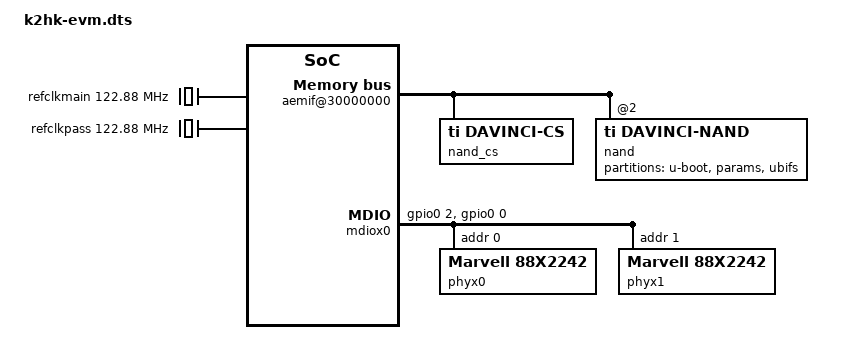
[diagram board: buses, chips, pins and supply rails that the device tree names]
/*
 * Keystone II Hawking EVM device tree file
 *
 * Copyright (c) 2012-13, Texas Instruments Inc
 * All rights reserved.
 *
 * Redistribution and use in source and binary forms, with or without
 * modification, are permitted provided that the following conditions are
 * met:
 *
 * * Redistributions of source code must retain the above copyright
 *	notice, this list of conditions and the following disclaimer.
 * * Redistributions in binary form must reproduce the above copyright
 *	notice, this list of conditions and the following disclaimer in
 *	the documentation and/or other materials provided with the
 *	distribution.
 * * Neither the name of TI nor the names of its contributors may be
 *	used to endorse or promote products derived from this software
 *	without specific prior written permission.
 *
 * THIS SOFTWARE IS PROVIDED BY THE COPYRIGHT HOLDERS AND CONTRIBUTORS "AS
 * IS" AND ANY EXPRESS OR IMPLIED WARRANTIES, INCLUDING, BUT NOT LIMITED
 * TO, THE IMPLIED WARRANTIES OF MERCHANTABILITY AND FITNESS FOR A
 * PARTICULAR PURPOSE ARE DISCLAIMED. IN NO EVENT SHALL THE COPYRIGHT
 * HOLDER OR CONTRIBUTORS BE LIABLE FOR ANY DIRECT, INDIRECT, INCIDENTAL,
 * SPECIAL, EXEMPLARY, OR CONSEQUENTIAL DAMAGES (INCLUDING, BUT NOT LIMITED
 * TO, PROCUREMENT OF SUBSTITUTE GOODS OR SERVICES; LOSS OF USE, DATA, OR
 * PROFITS; OR BUSINESS INTERRUPTION) HOWEVER CAUSED AND ON ANY THEORY OF
 * LIABILITY, WHETHER IN CONTRACT, STRICT LIABILITY, OR TORT (INCLUDING
 * NEGLIGENCE OR OTHERWISE) ARISING IN ANY WAY OUT OF THE USE OF THIS
 * SOFTWARE, EVEN IF ADVISED OF THE POSSIBILITY OF SUCH DAMAGE.
 */

/dts-v1/;

/include/ "keystone.dtsi"

/ {
	compatible = "ti,tci6638-evm";

	aliases {
		gpio0	= &gpio0;
		ethernet1 = &interface1;
		mdio-gpio0 = <&mdiox0>;
	};

	qostree: qos-tree {
		output-queue = <645>;		/* allowed only on root node */
	};

	qostree2: qos-tree-2 {
		output-queue = <645>;		/* allowed only on root node */
	};

	cpus {
		interrupt-parent = <&gic>;

		cpu@0 {
			compatible = "arm,cortex-a15";
		};

		cpu@1 {
			compatible = "arm,cortex-a15";
		};

		cpu@2 {
			compatible = "arm,cortex-a15";
		};

		cpu@3 {
			compatible = "arm,cortex-a15";
		};
	};

	soc {
		clocks {
			refclkmain: refclkmain {
				#clock-cells = <0>;
				compatible = "fixed-clock";
				clock-frequency = <122880000>;
				clock-output-names = "refclk-main";
			};

			refclkpass: refclkpass {
				#clock-cells = <0>;
				compatible = "fixed-clock";
				clock-frequency = <122880000>;
				clock-output-names = "refclk-pass";
			};

			mainpllclk: mainpllclk@2310110 {
				#clock-cells = <0>;
				compatible = "keystone,main-pll-clk";
				clocks = <&refclkmain>;
				reg = <0x02310110 4	/* PLLCTRL PLLM */
					0x02620350 4>;	/* MAINPLL_CTL0 */
				pll_has_pllctrl;
				pllm_lower_mask	= <0x3f>;
				pllm_upper_mask = <0x7f000>;
				pllm_upper_shift = <6>;
				plld_mask = <0x3f>;
				fixed_postdiv = <2>;
			};

			papllclk: papllclk@2620358 {
				#clock-cells = <0>;
				compatible = "keystone,pa-pll-clk";
				clocks = <&refclkpass>;
				reg = <0x02620358 4>;	/* PASSPLLCTL0 */
				pllm_upper_mask = <0x7ffc0>;
				pllm_upper_shift = <6>;
				plld_mask = <0x3f>;
				fixed_postdiv = <2>;
			};

			clkusb: clkusb {
				#clock-cells = <0>;
				compatible = "davinci,psc-clk";
				clocks = <&chipclk16>;
				clock-output-names = "usb";
				reg = <0x02350000 4096>;
				lpsc = <2>;
			};

			clksrio: clksrio {
				#clock-cells = <0>;
				compatible = "davinci,psc-clk";
				clocks = <&chipclk1rstiso13>;
				clock-output-names = "srio";
				base-flags = "ignore-unused";
				status = "disabled";
				reg = <0x02350000 4096>;
				lpsc = <11>;
				pd = <4>;
			};

			clkhyperlink0: clkhyperlink0 {
				#clock-cells = <0>;
				compatible = "davinci,psc-clk";
				clocks = <&chipclk12>;
				clock-output-names = "hyperlink-0";
				base-flags = "ignore-unused";
				status = "disabled";
				reg = <0x02350000 4096>;
				lpsc = <12>;
				pd = <5>;
			};

			clksr: clksr {
				#clock-cells = <0>;
				compatible = "davinci,psc-clk";
				clocks = <&chipclk1rstiso112>;
				clock-output-names = "sr";
				base-flags = "ignore-unused";
				reg = <0x02350000 4096>;
				lpsc = <13>;
				pd = <6>;
			};

			clkmsmcsram: clkmsmcsram {
				#clock-cells = <0>;
				compatible = "davinci,psc-clk";
				clocks = <&chipclk1>;
				clock-output-names = "msmcsram";
				base-flags = "ignore-unused";
				reg = <0x02350000 4096>;
				lpsc = <14>;
				pd = <7>;
			};

			clkgem0: clkgem0 {
				#clock-cells = <0>;
				compatible = "davinci,psc-clk";
				clocks = <&chipclk1>;
				clock-output-names = "gem0";
				base-flags = "ignore-unused";
				reg = <0x02350000 4096>;
				lpsc = <15>;
				pd = <8>;
			};

			clkgem1: clkgem1 {
				#clock-cells = <0>;
				compatible = "davinci,psc-clk";
				clocks = <&chipclk1>;
				clock-output-names = "gem1";
				base-flags = "ignore-unused";
				reg = <0x02350000 4096>;
				lpsc = <16>;
				pd = <9>;
			};

			clkgem2: clkgem2 {
				#clock-cells = <0>;
				compatible = "davinci,psc-clk";
				clocks = <&chipclk1>;
				clock-output-names = "gem2";
				base-flags = "ignore-unused";
				reg = <0x02350000 4096>;
				lpsc = <17>;
				pd = <10>;
			};

			clkgem3: clkgem3 {
				#clock-cells = <0>;
				compatible = "davinci,psc-clk";
				clocks = <&chipclk1>;
				clock-output-names = "gem3";
				base-flags = "ignore-unused";
				reg = <0x02350000 4096>;
				lpsc = <18>;
				pd = <11>;
			};

			clkgem4: clkgem4 {
				#clock-cells = <0>;
				compatible = "davinci,psc-clk";
				clocks = <&chipclk1>;
				clock-output-names = "gem4";
				base-flags = "ignore-unused";
				reg = <0x02350000 4096>;
				lpsc = <19>;
				pd = <12>;
			};

			clkgem5: clkgem5 {
				#clock-cells = <0>;
				compatible = "davinci,psc-clk";
				clocks = <&chipclk1>;
				clock-output-names = "gem5";
				base-flags = "ignore-unused";
				reg = <0x02350000 4096>;
				lpsc = <20>;
				pd = <13>;
			};

			clkgem6: clkgem6 {
				#clock-cells = <0>;
				compatible = "davinci,psc-clk";
				clocks = <&chipclk1>;
				clock-output-names = "gem6";
				base-flags = "ignore-unused";
				reg = <0x02350000 4096>;
				lpsc = <21>;
				pd = <14>;
			};

			clkgem7: clkgem7 {
				#clock-cells = <0>;
				compatible = "davinci,psc-clk";
				clocks = <&chipclk1>;
				clock-output-names = "gem7";
				base-flags = "ignore-unused";
				reg = <0x02350000 4096>;
				lpsc = <22>;
				pd = <15>;
			};

			clkddr30: clkddr30 {
				#clock-cells = <0>;
				compatible = "davinci,psc-clk";
				clocks = <&chipclk12>;
				clock-output-names = "ddr3-0";
				base-flags = "ignore-unused";
				reg = <0x02350000 4096>;
				lpsc = <23>;
				pd = <16>;
			};

			clkddr31: clkddr31 {
				#clock-cells = <0>;
				compatible = "davinci,psc-clk";
				clocks = <&chipclk13>;
				clock-output-names = "ddr3-1";
				base-flags = "ignore-unused";
				reg = <0x02350000 4096>;
				lpsc = <24>;
				pd = <16>;
			};

			clktac: clktac {
				#clock-cells = <0>;
				compatible = "davinci,psc-clk";
				clocks = <&chipclk13>;
				clock-output-names = "tac";
				base-flags = "ignore-unused";
				reg = <0x02350000 4096>;
				lpsc = <25>;
				pd = <17>;
			};

			clkrac01: clktac01 {
				#clock-cells = <0>;
				compatible = "davinci,psc-clk";
				clocks = <&chipclk13>;
				clock-output-names = "rac-01";
				base-flags = "ignore-unused";
				reg = <0x02350000 4096>;
				lpsc = <26>;
				pd = <17>;
			};

			clkrac23: clktac23 {
				#clock-cells = <0>;
				compatible = "davinci,psc-clk";
				clocks = <&chipclk13>;
				clock-output-names = "rac-23";
				base-flags = "ignore-unused";
				reg = <0x02350000 4096>;
				lpsc = <27>;
				pd = <18>;
			};

			clkfftc0: clkfftc0 {
				#clock-cells = <0>;
				compatible = "davinci,psc-clk";
				clocks = <&chipclk13>;
				clock-output-names = "fftc-0";
				base-flags = "ignore-unused";
				reg = <0x02350000 4096>;
				lpsc = <28>;
				pd = <19>;
			};

			clkfftc1: clkfftc1 {
				#clock-cells = <0>;
				compatible = "davinci,psc-clk";
				clocks = <&chipclk13>;
				clock-output-names = "fftc-1";
				base-flags = "ignore-unused";
				reg = <0x02350000 4096>;
				lpsc = <29>;
				pd = <19>;
			};

			clkfftc2: clkfftc2 {
				#clock-cells = <0>;
				compatible = "davinci,psc-clk";
				clocks = <&chipclk13>;
				clock-output-names = "fftc-2";
				base-flags = "ignore-unused";
				reg = <0x02350000 4096>;
				lpsc = <30>;
				pd = <20>;
			};

			clkfftc3: clkfftc3 {
				#clock-cells = <0>;
				compatible = "davinci,psc-clk";
				clocks = <&chipclk13>;
				clock-output-names = "fftc-3";
				base-flags = "ignore-unused";
				reg = <0x02350000 4096>;
				lpsc = <31>;
				pd = <20>;
			};

			clkfftc4: clkfftc4 {
				#clock-cells = <0>;
				compatible = "davinci,psc-clk";
				clocks = <&chipclk13>;
				clock-output-names = "fftc-4";
				base-flags = "ignore-unused";
				reg = <0x02350000 4096>;
				lpsc = <32>;
				pd = <20>;
			};

			clkfftc5: clkfftc5 {
				#clock-cells = <0>;
				compatible = "davinci,psc-clk";
				clocks = <&chipclk13>;
				clock-output-names = "fftc-5";
				base-flags = "ignore-unused";
				reg = <0x02350000 4096>;
				lpsc = <33>;
				pd = <20>;
			};

			clkaif: clkaif {
				#clock-cells = <0>;
				compatible = "davinci,psc-clk";
				clocks = <&chipclk13>;
				clock-output-names = "aif";
				base-flags = "ignore-unused";
				reg = <0x02350000 4096>;
				lpsc = <34>;
				pd = <21>;
			};

			clktcp3d0: clktcp3d0 {
				#clock-cells = <0>;
				compatible = "davinci,psc-clk";
				clocks = <&chipclk13>;
				clock-output-names = "tcp3d-0";
				base-flags = "ignore-unused";
				reg = <0x02350000 4096>;
				lpsc = <35>;
				pd = <22>;
			};

			clktcp3d1: clktcp3d1 {
				#clock-cells = <0>;
				compatible = "davinci,psc-clk";
				clocks = <&chipclk13>;
				clock-output-names = "tcp3d-1";
				base-flags = "ignore-unused";
				reg = <0x02350000 4096>;
				lpsc = <36>;
				pd = <22>;
			};

			clktcp3d2: clktcp3d2 {
				#clock-cells = <0>;
				compatible = "davinci,psc-clk";
				clocks = <&chipclk13>;
				clock-output-names = "tcp3d-2";
				base-flags = "ignore-unused";
				reg = <0x02350000 4096>;
				lpsc = <37>;
				pd = <23>;
			};

			clktcp3d3: clktcp3d3 {
				#clock-cells = <0>;
				compatible = "davinci,psc-clk";
				clocks = <&chipclk13>;
				clock-output-names = "tcp3d-3";
				base-flags = "ignore-unused";
				reg = <0x02350000 4096>;
				lpsc = <38>;
				pd = <23>;
			};

			clkvcp0: clkvcp0 {
				#clock-cells = <0>;
				compatible = "davinci,psc-clk";
				clocks = <&chipclk13>;
				clock-output-names = "vcp-0";
				base-flags = "ignore-unused";
				reg = <0x02350000 4096>;
				lpsc = <39>;
				pd = <24>;
			};

			clkvcp1: clkvcp1 {
				#clock-cells = <0>;
				compatible = "davinci,psc-clk";
				clocks = <&chipclk13>;
				clock-output-names = "vcp-1";
				base-flags = "ignore-unused";
				reg = <0x02350000 4096>;
				lpsc = <40>;
				pd = <24>;
			};

			clkvcp2: clkvcp2 {
				#clock-cells = <0>;
				compatible = "davinci,psc-clk";
				clocks = <&chipclk13>;
				clock-output-names = "vcp-2";
				base-flags = "ignore-unused";
				reg = <0x02350000 4096>;
				lpsc = <41>;
				pd = <24>;
			};

			clkvcp3: clkvcp3 {
				#clock-cells = <0>;
				compatible = "davinci,psc-clk";
				clocks = <&chipclk13>;
				clock-output-names = "vcp-3";
				base-flags = "ignore-unused";
				reg = <0x02350000 4096>;
				lpsc = <42>;
				pd = <24>;
			};

			clkvcp4: clkvcp4 {
				#clock-cells = <0>;
				compatible = "davinci,psc-clk";
				clocks = <&chipclk13>;
				clock-output-names = "vcp-4";
				base-flags = "ignore-unused";
				reg = <0x02350000 4096>;
				lpsc = <43>;
				pd = <25>;
			};

			clkvcp5: clkvcp5 {
				#clock-cells = <0>;
				compatible = "davinci,psc-clk";
				clocks = <&chipclk13>;
				clock-output-names = "vcp-5";
				base-flags = "ignore-unused";
				reg = <0x02350000 4096>;
				lpsc = <44>;
				pd = <25>;
			};

			clkvcp6: clkvcp6 {
				#clock-cells = <0>;
				compatible = "davinci,psc-clk";
				clocks = <&chipclk13>;
				clock-output-names = "vcp-6";
				base-flags = "ignore-unused";
				reg = <0x02350000 4096>;
				lpsc = <45>;
				pd = <25>;
			};

			clkvcp7: clkvcp7 {
				#clock-cells = <0>;
				compatible = "davinci,psc-clk";
				clocks = <&chipclk13>;
				clock-output-names = "vcp-7";
				base-flags = "ignore-unused";
				reg = <0x02350000 4096>;
				lpsc = <46>;
				pd = <25>;
			};

			clkbcp: clkbcp {
				#clock-cells = <0>;
				compatible = "davinci,psc-clk";
				clocks = <&chipclk13>;
				clock-output-names = "bcp";
				base-flags = "ignore-unused";
				reg = <0x02350000 4096>;
				lpsc = <47>;
				pd = <26>;
			};

			clkdxb: clkdxb {
				#clock-cells = <0>;
				compatible = "davinci,psc-clk";
				clocks = <&chipclk13>;
				clock-output-names = "dxb";
				base-flags = "ignore-unused";
				reg = <0x02350000 4096>;
				lpsc = <48>;
				pd = <27>;
			};

			clkhyperlink1: clkhyperlink1 {
				#clock-cells = <0>;
				compatible = "davinci,psc-clk";
				clocks = <&chipclk12>;
				clock-output-names = "hyperlink-1";
				base-flags = "ignore-unused";
				status = "disabled";
				reg = <0x02350000 4096>;
				lpsc = <49>;
				pd = <28>;
			};

			clkxge: clkxge {
				#clock-cells = <0>;
				compatible = "davinci,psc-clk";
				clocks = <&chipclk13>;
				clock-output-names = "xge";
				base-flags = "ignore-unused";
				reg = <0x02350000 4096>;
				lpsc = <50>;
				pd = <29>;
			};
		};


		aemif@30000000 {
			nand_cs:cs2@30000000 {
				compatible = "ti,davinci-cs";
				#address-cells = <1>;
				#size-cells = <1>;
				/* all timings in nanoseconds */
				ti,davinci-cs-ta = <12>;
				ti,davinci-cs-rhold = <6>;
				ti,davinci-cs-rstrobe = <23>;
				ti,davinci-cs-rsetup = <9>;
				ti,davinci-cs-whold = <8>;
				ti,davinci-cs-wstrobe = <23>;
				ti,davinci-cs-wsetup = <8>;
			};

			nand@2,0 {
				compatible = "ti,davinci-nand";
				reg = <2 0x0 0x8000000
					6 0x0 0x100>;
				#address-cells = <1>;
				#size-cells = <1>;
				ti,davinci-chipselect = <0>;
				ti,davinci-mask-ale = <0x2000>;
				ti,davinci-mask-cle = <0x4000>;
				ti,davinci-mask-chipsel = <0>;
				ti,davinci-ecc-mode = "hw";
				ti,davinci-ecc-bits = <4>;
				ti,davinci-nand-use-bbt;
				ti,davinci-no-subpage-write;
				clocks = <&clkaemif>;
				clock-names = "aemif";

				partition@0 {
					label = "u-boot";
					reg = <0x0 0x100000>;
					read-only;
				};

				partition@100000 {
					label = "params";
					reg = <0x100000 0x80000>;
					read-only;
				};

				partition@180000 {
					label = "ubifs";
					reg = <0x180000 0x1fe80000>;
				};
			};
		};

		ipcgpio1: gpio@2620244 {
			compatible = "ti,keystone-ipc-gpio";
			reg = <0x02620244 4>;
			gpio-controller;
			#gpio-cells = <2>;
		};

		ipcgpio2: gpio@2620248 {
			compatible = "ti,keystone-ipc-gpio";
			reg = <0x02620248 4>;
			gpio-controller;
			#gpio-cells = <2>;
		};

		ipcgpio3: gpio@262024c {
			compatible = "ti,keystone-ipc-gpio";
			reg = <0x0262024c 4>;
			gpio-controller;
			#gpio-cells = <2>;
		};

		ipcgpio4: gpio@2620250 {
			compatible = "ti,keystone-ipc-gpio";
			reg = <0x02620250 4>;
			gpio-controller;
			#gpio-cells = <2>;
		};

		ipcgpio5: gpio@2620254 {
			compatible = "ti,keystone-ipc-gpio";
			reg = <0x02620254 4>;
			gpio-controller;
			#gpio-cells = <2>;
		};

		ipcgpio6: gpio@2620258 {
			compatible = "ti,keystone-ipc-gpio";
			reg = <0x02620258 4>;
			gpio-controller;
			#gpio-cells = <2>;
		};

		ipcgpio7: gpio@262025C {
			compatible = "ti,keystone-ipc-gpio";
			reg = <0x0262025C 4>;
			gpio-controller;
			#gpio-cells = <2>;
		};

		dsp0: dsp0 {
			compatible = "linux,rproc-user";
			mem = <0x10e00000 0x00008000
			       0x10f00000 0x00008000
			       0x10800000 0x00100000>;
			reg = <0x02620040 4
			       0x0235083c 4
			       0x02350a3c 4
			       0x02620240 4>;
			reg-names = "boot-address", "psc-mdstat", "psc-mdctl", "ipcgr";
			interrupt-parent = <&ipcirq0>;
			interrupts = <8 0 0 0>;
			kick-gpio = <&ipcgpio0 27 0>;
			clocks = <&clkgem0>;
			label = "dsp0";
		};

		dsp1: dsp1 {
			compatible = "linux,rproc-user";
			mem = <0x11e00000 0x00008000
			       0x11f00000 0x00008000
			       0x11800000 0x00100000>;
			reg = <0x02620044 4
			       0x02350840 4
			       0x02350a40 4
			       0x02620244 4>;
			reg-names = "boot-address", "psc-mdstat", "psc-mdctl", "ipcgr";
			interrupt-parent = <&ipcirq0>;
			interrupts = <9 0 1 0>;
			kick-gpio = <&ipcgpio1 27 0>;
			clocks = <&clkgem1>;
			label = "dsp1";
		};

		dsp2: dsp2 {
			compatible = "linux,rproc-user";
			mem = <0x12e00000 0x00008000
			       0x12f00000 0x00008000
			       0x12800000 0x00100000>;
			reg = <0x02620048 4
			       0x02350844 4
			       0x02350a44 4
			       0x02620248 4>;
			reg-names = "boot-address", "psc-mdstat", "psc-mdctl", "ipcgr";
			interrupt-parent = <&ipcirq0>;
			interrupts = <10 0 2 0>;
			kick-gpio = <&ipcgpio2 27 0>;
			clocks = <&clkgem2>;
			label = "dsp2";
		};

		dsp3: dsp3 {
			compatible = "linux,rproc-user";
			mem = <0x13e00000 0x00008000
			       0x13f00000 0x00008000
			       0x13800000 0x00100000>;
			reg = <0x0262004c 4
			       0x02350848 4
			       0x02350a48 4
			       0x0262024c 4>;
			reg-names = "boot-address", "psc-mdstat", "psc-mdctl", "ipcgr";
			interrupt-parent = <&ipcirq0>;
			interrupts = <11 0 3 0>;
			kick-gpio = <&ipcgpio3 27 0>;
			clocks = <&clkgem3>;
			label = "dsp3";
		};

		dsp4: dsp4 {
			compatible = "linux,rproc-user";
			mem = <0x14e00000 0x00008000
			       0x14f00000 0x00008000
			       0x14800000 0x00100000>;
			reg = <0x02620050 4
			       0x0235084C 4
			       0x02350a4C 4
			       0x02620250 4>;
			reg-names = "boot-address", "psc-mdstat", "psc-mdctl", "ipcgr";
			interrupt-parent = <&ipcirq0>;
			interrupts = <12 0 4 0>;
			kick-gpio = <&ipcgpio4 27 0>;
			clocks = <&clkgem4>;
			label = "dsp4";
		};

		dsp5: dsp5 {
			compatible = "linux,rproc-user";
			mem = <0x15e00000 0x00008000
			       0x15f00000 0x00008000
			       0x15800000 0x00100000>;
			reg = <0x02620054 4
			       0x02350850 4
			       0x02350a50 4
			       0x02620254 4>;
			reg-names = "boot-address", "psc-mdstat", "psc-mdctl", "ipcgr";
			interrupt-parent = <&ipcirq0>;
			interrupts = <13 0 5 0>;
			kick-gpio = <&ipcgpio5 27 0>;
			clocks = <&clkgem5>;
			label = "dsp5";
		};

		dsp6: dsp6 {
			compatible = "linux,rproc-user";
			mem = <0x16e00000 0x00008000
			       0x16f00000 0x00008000
			       0x16800000 0x00100000>;
			reg = <0x02620058 4
			       0x02350854 4
			       0x02350a54 4
			       0x02620258 4>;
			reg-names = "boot-address", "psc-mdstat", "psc-mdctl", "ipcgr";
			interrupt-parent = <&ipcirq0>;
			interrupts = <14 0 6 0>;
			kick-gpio = <&ipcgpio6 27 0>;
			clocks = <&clkgem6>;
			label = "dsp6";
		};

		dsp7: dsp7 {
			compatible = "linux,rproc-user";
			mem = <0x17e00000 0x00008000
			       0x17f00000 0x00008000
			       0x17800000 0x00100000>;
			reg = <0x0262005C 4
			       0x02350858 4
			       0x02350a58 4
			       0x0262025C 4>;
			reg-names = "boot-address", "psc-mdstat", "psc-mdctl", "ipcgr";
			interrupt-parent = <&ipcirq0>;
			interrupts = <15 0 7 0>;
			kick-gpio = <&ipcgpio7 27 0>;
			clocks = <&clkgem7>;
			label = "dsp7";
		};

		dspmem: dspmem {
			compatible = "linux,rproc-user";
			mem  = <0x0c000000 0x000600000
					0xa0000000 0x20000000>;
			label = "dspmem";
		};


		uio_hyperlink0: hyperlink0 {
			compatible = "ti,uio-module-drv";
			mem  = <0x21400000 0x00000100
				0x40000000 0x10000000
				0x0231a000 0x00002000>;
			clocks = <&clkhyperlink0>;
			interrupts	= <0 387 0x101>;
			label = "hyperlink0";
		};

		uio_hyperlink1: hyperlink1 {
			compatible = "ti,uio-module-drv";
			mem  = <0x21400100 0x00000100
				0x28000000 0x08000000
				0x0231c000 0x00002000>;
			clocks = <&clkhyperlink1>;
			interrupts	= <0 388 0x101>;
			label = "hyperlink1";
		};

		hwqueue0: hwqueue@2a40000 {
			range		= <0 0x4000>;
			linkram0	= <0x100000 0x8000>;
			linkram1	= <0x0 0x10000>;

			qmgrs {
				qmgr1 {
					managed-queues = <0x2000 0x2000>;	/* managed queues */
					reg = <0x2a60000 0x20000	/* 0 - peek	*/
					       0x2a06400 0x400		/* 1 - status	*/
					       0x2a04000 0x1000		/* 2 - config	*/
					       0x2a05000 0x1000		/* 3 - region	*/
					       0x2aa0000 0x20000	/* 4 - push	*/
					       0x2aa0000 0x20000>;	/* 5 - pop	*/
				};
			};
			queues {
				qpend-arm-hi {
					values = <8704 32>;
					interrupts = <0 48 0x104 0 49 0x204 0 50 0xf04 0 51 0xf04
						      0 52 0xf04 0 53 0xf04 0 54 0xf04 0 55 0xf04
						      0 56 0xf04 0 57 0xf04 0 58 0xf04 0 59 0xf04
						      0 60 0x104 0 61 0x204 0 62 0x404 0 63 0x804
						      0 64 0x404 0 65 0x804 0 66 0xf04 0 59 0xf04
						      0 68 0xf04 0 69 0xf04 0 70 0xf04 0 71 0xf04
						      0 72 0xf04 0 73 0xf04 0 74 0xf04 0 75 0xf04
						      0 76 0xf04 0 77 0xf04 0 78 0xf04 0 79 0xf04>;
					reserved;
				};
				pa {
					values = <640 9>;
					reserved;
				};
				infradma {
					values = <800 16>;
					reserved;
				};
				xge {
					values = <8752 8>;
					reserved;
				};
			};
			descriptors {
				pool-udma {
					values = <1920 256>;	/* num_desc desc_size */
					region-id = <13>;
				};
			};
		}; /* hwqueue0 */

		padma: pktdma@2004000 {
			compatible = "ti,keystone-pktdma";
			reg = <0x2004000 0x100		/* 0 - global  */
			       0x2004400 0x120		/* 1 - txchan  */
			       0x2004800 0x300		/* 2 - rxchan  */
			       0x2004c00 0x120		/* 3 - txsched */
			       0x2005000 0x400>;	/* 4 - rxflow  */
			/* loop-back;  */
			/* bigendian; */
			dma-coherent;
			enable-all;
			debug;
			/* rx-priority = <0>; */
			/* tx-priority = <0>; */
			rx-retry-timeout = <3500>; /* Number of pktdma cycles to wait
						before retry on buffer starvation */
			logical-queue-managers	= <4>;
			queues-per-queue-manager = <4096>;
			qm-base-address = <0x23a80000 0x23a90000
					   0x23aa0000 0x23ab0000>;

			channels {
				nettx0 {
					transmit;
					label		= "nettx0";
					pool		= "pool-net";
					submit-queue	= <648>;
					/* complete-queue = <xx>; */
					/* debug; */
					/* channel = <0>; */
					/* priority = <1>; */
				};
				nettx1 {
					transmit;
					label		= "nettx1";
					pool		= "pool-net";
					submit-queue	= <648>;
					/* complete-queue = <xx>; */
					/* debug; */
					/* channel = <0>; */
					/* priority = <1>; */
				};
				nettx2 {
					transmit;
					label		= "nettx2";
					pool		= "pool-net";
					submit-queue	= <648>;
					/* complete-queue = <xx>; */
					/* debug; */
					/* channel = <0>; */
					/* priority = <1>; */
				};
				nettx3 {
					transmit;
					label		= "nettx3";
					pool		= "pool-net";
					submit-queue	= <648>;
					/* complete-queue = <xx>; */
					/* debug; */
					/* channel = <0>; */
					/* priority = <1>; */
				};
				netrx0 {
					receive;
					label		= "netrx0";
					pool		= "pool-net";
					/* submit-queue   = <xx>; */
					complete-queue = <8704>;
					/* debug; */
					/* channel = <0>; */
					flow		= <22>;
				};
				netrx1 {
					receive;
					label		= "netrx1";
					pool		= "pool-net";
					/* submit-queue   = <xx>; */
					complete-queue = <8705>;
					/* debug; */
					/* channel = <0>; */
					flow		= <23>;
				};
				netrx2 {
					receive;
					label		= "netrx2";
					pool		= "pool-net";
					/* submit-queue   = <xx>; */
					complete-queue = <8718>;
					/* debug; */
					/* channel = <0>; */
					flow		= <24>;
				};
				netrx3 {
					receive;
					label		= "netrx3";
					pool		= "pool-net";
					/* submit-queue   = <xx>; */
					complete-queue = <8719>;
					/* debug; */
					/* channel = <0>; */
					flow		= <25>;
				};
				satx-0 {
					transmit;
					label		= "satx-0";
					pool		= "pool-net";
					submit-queue	= <646>;
				};
				satx-1 {
					transmit;
					label		= "satx-1";
					pool		= "pool-net";
					submit-queue	= <646>;
				};
				patx-pdsp0 {
					transmit;
					label		= "patx-pdsp0";
					pool		= "pool-net";
					submit-queue	= <640>;
					complete-queue  = <8706>;
					/* debug; */
					/* channel = <xx>; */
					/* priority = <1>; */
				};
				patx-pdsp5-0 {
					transmit;
					label		= "patx-pdsp5-0";
					pool		= "pool-net";
					submit-queue	= <645>;
					/* complete-queue = <xx>; */
					/* debug; */
					/* channel = <xx>; */
					/* priority = <1>; */
				};
				patx-pdsp5-1 {
					transmit;
					label		= "patx-pdsp5-1";
					pool		= "pool-net";
					submit-queue	= <645>;
					/* complete-queue = <xx>; */
					/* debug; */
					/* channel = <xx>; */
					/* priority = <1>; */
				};
				patx-pdsp5-2 {
					transmit;
					label		= "patx-pdsp5-2";
					pool		= "pool-net";
					submit-queue	= <645>;
					complete-queue = <8720>;
					/* debug; */
					/* channel = <xx>; */
					/* priority = <1>; */
				};
				patx-pdsp5-3 {
					transmit;
					label		= "patx-pdsp5-3";
					pool		= "pool-net";
					submit-queue	= <645>;
					complete-queue = <8721>;
					/* debug; */
					/* channel = <xx>; */
					/* priority = <1>; */
				};
				qos-bypass-0 {
					transmit;
					label		= "qos-bypass-0";
					pool		= "pool-net";
					submit-queue	= <645>;
					complete-queue 	= <8716>;
					/* debug; */
					/* channel = <xx>; */
					/* priority = <1>; */
				};
				qos-bypass-1 {
					transmit;
					label		= "qos-bypass-1";
					pool		= "pool-net";
					submit-queue	= <645>;
					complete-queue 	= <8717>;
					/* debug; */
					/* channel = <xx>; */
					/* priority = <1>; */
				};
				parx {
					receive;
					label		= "parx";
					pool		= "pool-net";
					/* submit-queue   = <xx>; */
					/* complete-queue = <xx>; */
					/* debug; */
					/* channel = <0>; */
					flow		= <31>;
				};
				crypto-rx0 {
					receive;
					label		= "crypto-rx0";
					pool		= "pool-crypto";
					complete-queue 	= <8712>;
					flow		= <26>;
					rx-error-retry; /* enable retry on buffer starvation */
					/* debug; */
				};
				crypto-tx {
					transmit;
					label		= "crypto-tx";
					pool		= "pool-crypto";
					submit-queue	= <646>;
					complete-queue 	= <8713>;
					/* debug; */
				};
				qos0 {
					transmit;
					label		= "qos0";
					pool		= "pool-net";
					submit-queue	= <8072>;
					/* complete-queue = <xx>; */
					/* debug; */
					/* channel = <xx>; */
					/* priority = <1>; */
				};
				qos1 {
					transmit;
					label		= "qos1";
					pool		= "pool-net";
					submit-queue	= <8073>;
					/* complete-queue = <xx>; */
					/* debug; */
					/* channel = <xx>; */
					/* priority = <1>; */
				};
				qos2 {
					transmit;
					label		= "qos2";
					pool		= "pool-net";
					submit-queue	= <8074>;
					/* complete-queue = <xx>; */
					/* debug; */
					/* channel = <xx>; */
					/* priority = <1>; */
				};
				qos3 {
					transmit;
					label		= "qos3";
					pool		= "pool-net";
					submit-queue	= <8075>;
					/* complete-queue = <xx>; */
					/* debug; */
					/* channel = <xx>; */
					/* priority = <1>; */
				};
				qos4 {
					transmit;
					label		= "qos4";
					pool		= "pool-net";
					submit-queue	= <8076>;
					/* complete-queue = <xx>; */
					/* debug; */
					/* channel = <xx>; */
					/* priority = <1>; */
				};
				qos5 {
					transmit;
					label		= "qos5";
					pool		= "pool-net";
					submit-queue	= <8077>;
					complete-queue  = <8707>;
					/* debug; */
					/* channel = <xx>; */
					/* priority = <1>; */
				};
				qos6 {
					transmit;
					label		= "qos6";
					pool		= "pool-net";
					submit-queue	= <6472>;
					/* complete-queue = <xx>; */
					/* debug; */
					/* channel = <xx>; */
					/* priority = <1>; */
				};
				qos7 {
					transmit;
					label		= "qos7";
					pool		= "pool-net";
					submit-queue	= <6473>;
					/* complete-queue = <xx>; */
					/* debug; */
					/* channel = <xx>; */
					/* priority = <1>; */
				};
				qos8 {
					transmit;
					label		= "qos8";
					pool		= "pool-net";
					submit-queue	= <6474>;
					/* complete-queue = <xx>; */
					/* debug; */
					/* channel = <xx>; */
					/* priority = <1>; */
				};
				qos9 {
					transmit;
					label		= "qos9";
					pool		= "pool-net";
					submit-queue	= <6475>;
					/* complete-queue = <xx>; */
					/* debug; */
					/* channel = <xx>; */
					/* priority = <1>; */
				};
				qos10 {
					transmit;
					label		= "qos10";
					pool		= "pool-net";
					submit-queue	= <6476>;
					/* complete-queue = <xx>; */
					/* debug; */
					/* channel = <xx>; */
					/* priority = <1>; */
				};
				qos11 {
					transmit;
					label		= "qos11";
					pool		= "pool-net";
					submit-queue	= <6477>;
					complete-queue  = <8708>;
					/* debug; */
					/* channel = <xx>; */
					/* priority = <1>; */
				};
			};
		};

		infradma: pktdma@2a08000 {
			logical-queue-managers	= <4>;
			qm-base-address = <0x23a80000 0x23a90000
					  0x23aa0000 0x23ab0000>;

			channels {
				udmatx2 {
					transmit;
					label		= "udmatx2";
					pool		= "pool-udma";
					submit-queue	= <802>;
					/* complete-queue  = <2> */
					/* debug; */
					channel		= <2>;
					priority	= <1>;
					flowtag		= <2>;
				};
				udmatx3 {
					transmit;
					label		= "udmatx3";
					pool		= "pool-udma";
					submit-queue	= <803>;
					/* complete-queue  = <3> */
					/* debug; */
					channel		= <3>;
					priority	= <1>;
					flowtag		= <3>;
				};
				udmatx4 {
					transmit;
					label		= "udmatx4";
					pool		= "pool-udma";
					submit-queue	= <804>;
					/* complete-queue  = <4> */
					/* debug; */
					channel		= <4>;
					priority	= <1>;
					flowtag		= <4>;
				};
				udmatx5 {
					transmit;
					label		= "udmatx5";
					pool		= "pool-udma";
					submit-queue	= <805>;
					/* complete-queue  = <5> */
					/* debug; */
					channel		= <5>;
					priority	= <1>;
					flowtag		= <5>;
				};
				udmatx6 {
					transmit;
					label		= "udmatx6";
					pool		= "pool-udma";
					submit-queue	= <806>;
					/* complete-queue  = <6> */
					/* debug; */
					channel		= <6>;
					priority	= <1>;
					flowtag		= <6>;
				};
				udmatx7 {
					transmit;
					label		= "udmatx7";
					pool		= "pool-udma";
					submit-queue	= <807>;
					/* complete-queue  = <7> */
					/* debug; */
					channel		= <7>;
					priority	= <1>;
					flowtag		= <7>;
				};
				udmatx8 {
					transmit;
					label		= "udmatx8";
					pool		= "pool-udma";
					submit-queue	= <808>;
					/* complete-queue  = <8> */
					/* debug; */
					channel		= <8>;
					priority	= <1>;
					flowtag		= <8>;
				};
				udmatx9 {
					transmit;
					label		= "udmatx9";
					pool		= "pool-udma";
					submit-queue	= <809>;
					/* complete-queue  = <9> */
					/* debug; */
					channel		= <9>;
					priority	= <1>;
					flowtag		= <9>;
				};
				udmatx10 {
					transmit;
					label		= "udmatx10";
					pool		= "pool-udma";
					submit-queue	= <810>;
					/* complete-queue  = <10> */
					/* debug; */
					channel		= <10>;
					priority	= <1>;
					flowtag		= <10>;
				};
				udmatx11 {
					transmit;
					label		= "udmatx11";
					pool		= "pool-udma";
					submit-queue	= <811>;
					/* complete-queue  = <11> */
					/* debug; */
					channel		= <11>;
					priority	= <1>;
					flowtag		= <11>;
				};
				udmatx12 {
					transmit;
					label		= "udmatx12";
					pool		= "pool-udma";
					submit-queue	= <812>;
					/* complete-queue  = <12> */
					/* debug; */
					channel		= <12>;
					priority	= <1>;
					flowtag		= <12>;
				};
				udmatx13 {
					transmit;
					label		= "udmatx13";
					pool		= "pool-udma";
					submit-queue	= <813>;
					/* complete-queue  = <13> */
					/* debug; */
					channel		= <13>;
					priority	= <1>;
					flowtag		= <13>;
				};
				udmatx14 {
					transmit;
					label		= "udmatx14";
					pool		= "pool-udma";
					submit-queue	= <814>;
					/* complete-queue  = <14> */
					/* debug; */
					channel		= <14>;
					priority	= <1>;
					flowtag		= <14>;
				};
				udmatx15 {
					transmit;
					label		= "udmatx15";
					pool		= "pool-udma";
					submit-queue	= <815>;
					/* complete-queue  = <15> */
					/* debug; */
					channel		= <15>;
					priority	= <1>;
					flowtag		= <15>;
				};
				udmarx2 {
					receive;
					label		= "udmarx2";
					pool		= "pool-udma";
					/* submit-queue = <xx>; */
					/* complete-queue  = <18> */
					/* debug; */
					channel		= <2>;
					flow		= <2>;
				};
				udmarx3 {
					receive;
					label		= "udmarx3";
					pool		= "pool-udma";
					/* submit-queue = <xx>; */
					/* complete-queue  = <19> */
					/* debug; */
					channel		= <3>;
					flow		= <3>;
				};
				udmarx4 {
					receive;
					label		= "udmarx4";
					pool		= "pool-udma";
					/* submit-queue = <xx>; */
					/* complete-queue  = <20> */
					/* debug; */
					channel		= <4>;
					flow		= <4>;
				};
				udmarx5 {
					receive;
					label		= "udmarx5";
					pool		= "pool-udma";
					/* submit-queue = <xx>; */
					/* complete-queue  = <21> */
					/* debug; */
					channel		= <5>;
					flow		= <5>;
				};
				udmarx6 {
					receive;
					label		= "udmarx6";
					pool		= "pool-udma";
					/* submit-queue = <xx>; */
					/* complete-queue  = <22> */
					/* debug; */
					channel		= <6>;
					flow		= <6>;
				};
				udmarx7 {
					receive;
					label		= "udmarx7";
					pool		= "pool-udma";
					/* submit-queue = <xx>; */
					/* complete-queue  = <23> */
					/* debug; */
					channel		= <7>;
					flow		= <7>;
				};
				udmarx8 {
					receive;
					label		= "udmarx8";
					pool		= "pool-udma";
					/* submit-queue = <xx>; */
					/* complete-queue  = <24> */
					/* debug; */
					channel		= <8>;
					flow		= <8>;
				};
				udmarx9 {
					receive;
					label		= "udmarx9";
					pool		= "pool-udma";
					/* submit-queue = <xx>; */
					/* complete-queue  = <25> */
					/* debug; */
					channel		= <9>;
					flow		= <9>;
				};
				udmarx10 {
					receive;
					label		= "udmarx10";
					pool		= "pool-udma";
					/* submit-queue = <xx>; */
					/* complete-queue  = <26> */
					/* debug; */
					channel		= <10>;
					flow		= <10>;
				};
				udmarx11 {
					receive;
					label		= "udmarx11";
					pool		= "pool-udma";
					/* submit-queue = <xx>; */
					/* complete-queue  = <27> */
					/* debug; */
					channel		= <11>;
					flow		= <11>;
				};
				udmarx12 {
					receive;
					label		= "udmarx12";
					pool		= "pool-udma";
					/* submit-queue = <xx>; */
					/* complete-queue  = <28> */
					/* debug; */
					channel		= <12>;
					flow		= <12>;
				};
				udmarx13 {
					receive;
					label		= "udmarx13";
					pool		= "pool-udma";
					/* submit-queue = <xx>; */
					/* complete-queue  = <29> */
					/* debug; */
					channel		= <13>;
					flow		= <13>;
				};
				udmarx14 {
					receive;
					label		= "udmarx14";
					pool		= "pool-udma";
					/* submit-queue = <xx>; */
					/* complete-queue  = <30> */
					/* debug; */
					channel		= <14>;
					flow		= <14>;
				};
				udmarx15 {
					receive;
					label		= "udmarx15";
					pool		= "pool-udma";
					/* submit-queue = <xx>; */
					/* complete-queue  = <31> */
					/* debug; */
					channel		= <15>;
					flow		= <15>;
				};
			};
		};

		netcp: netcp@2090000 {
			reg = <0x2090000 0xf00
				0x2620110 0x8>;
			compatible = "ti,keystone-netcp";

			clocks = <&paclk13>, <&clkcpgmac>, <&chipclk12>;
			clock-names = "clk_pa", "clk_cpgmac", "cpsw_cpts_rft_clk";
			dma-coherent;
			streaming-regs = <0x02000604 0x4>;

			interfaces {
				interface0: interface-0 {
					rx-channel = "netrx0";
					rx-queue-depth = <128 128 0 0>;
					rx-buffer-size = <1536 4096 0 0>;
					efuse-mac = <1>;
					/*local-mac-address = [02 18 31 7e 3e 6e]; */
				};
				interface1: interface-1 {
					rx-channel = "netrx1";
					rx-queue-depth = <128 128 0 0>;
					rx-buffer-size = <1536 4096 0 0>;
					efuse-mac = <0>;
					local-mac-address = [02 18 31 7e 3e 6f];
				};
				interface2: interface-2 {
					rx-channel = "netrx2";
					rx-queue-depth = <128 128 0 0>;
					rx-buffer-size = <1536 4096 0 0>;
					efuse-mac = <0>;
					/*local-mac-address = [02 18 31 7e 3e 7e]; */
				};
				interface3: interface-3 {
					rx-channel = "netrx3";
					rx-queue-depth = <128 128 0 0>;
					rx-buffer-size = <1536 4096 0 0>;
					efuse-mac = <0>;
					/*local-mac-address = [02 18 31 7e 3e 7f]; */
				};
			};

			cpsw: cpsw@2090000 {
				label = "keystone-cpsw";
				serdes_at_probe = <1>;

				intf_tx_queues = <7>;

				sgmii_module_ofs  = <0x100>;
				sgmii_module34_ofs  = <0x400>;
				switch_module_ofs = <0x800>;
				host_port_reg_ofs = <0x834>;
				slave_reg_ofs	  = <0x860>;
				sliver_reg_ofs	  = <0x900>;
				slave23_reg_ofs	  = <0xa00>;
				hw_stats_reg_ofs  = <0xb00>;
				cpts_reg_ofs	  = <0xd00>;
				ale_reg_ofs	  = <0xe00>;

				num_slaves  = <4>;
				ale_ageout  = <30>;
				ale_entries = <1024>;
				ale_ports   = <5>;

				cpts_rftclk_sel = <0>;
				/*cpts_rftclk_freq = <399360000>;*/
				cpts_ts_comp_length = <3>;
				cpts_ts_comp_polarity = <1>;  /* 1 - assert high */
				cpts_clock_mult = <5000>;
				cpts_clock_shift = <10>;
				cpts_clock_div = <3>;
				/* force_no_hwtstamp; */

				multi-interface;
				num-interfaces = <4>;
				slaves-per-interface = <1>;

				interfaces {
					interface-0 {
						slave_port = <0>;
						tx-channel = "nettx0";
						tx_queue_depth = <32>;
					};
					interface-1 {
						slave_port = <1>;
						tx-channel = "nettx1";
						tx_queue_depth = <32>;
					};
					interface-2 {
						slave_port = <2>;
						tx-channel = "nettx2";
						tx_queue_depth = <32>;
					};
					interface-3 {
						slave_port = <3>;
						tx-channel = "nettx3";
						tx_queue_depth = <32>;
					};
				};

				slaves {
					slave0 {
						label		= "slave0";
						link-interface	= <4>;
					};
					slave1 {
						label		= "slave1";
						link-interface	= <4>;
					};
					slave2 {
						label		= "slave2";
						link-interface	= <2>;
					};
					slave3 {
						label		= "slave3";
						link-interface	= <2>;
					};
				};
			};
			pa: pa@2000000 {
				label = "keystone-pa";
				checksum-offload	= <1>; /* 1 - HW offload */
				txhook-order		= <10>;
				txhook-softcsum		= <40>;
				rxhook-order		= <10>;

				tx_cmd_queue_depth	= <64>;
				tx_data_queue_depth	= <1024>;
				rx_pool_depth		= <64>;
				rx_buffer_size		= <128>;
				lut-ranges		= <0 43 56 63>;
				/* mark_mcast_match	= <0x12345a00 0xffffff00>; */
				/* force_no_hwtstamp; */
			};
			sa: sa@20c0000 {
				label = "keystone-sa";
				multi-interface;
				interface-0;
				interface-1;
				tx_queue_depth = <32>;
			};
			qos: qos@0 {
				label = "keystone-qos";
				multi-interface;

				interface-0 {
					chan-0 {
						tx-channel = "qos-bypass-0";
						tx_queue_depth = <1024>;
					};
					chan-1 {
						tx-channel = "qos0";
						tx_queue_depth = <64>;
					};
					chan-2 {
						tx-channel = "qos1";
						tx_queue_depth = <64>;
					};
					chan-3 {
						tx-channel = "qos2";
						tx_queue_depth = <64>;
					};
					chan-4 {
						tx-channel = "qos3";
						tx_queue_depth = <64>;
					};
					chan-5 {
						tx-channel = "qos4";
						tx_queue_depth = <64>;
					};
					chan-6 {
						tx-channel = "qos5";
						tx_queue_depth = <64>;
					};
				};
				interface-1 {
					chan-0 {
						tx-channel = "qos-bypass-1";
						tx_queue_depth = <1024>;
					};
					chan-1 {
						tx-channel = "qos6";
						tx_queue_depth = <64>;
					};
					chan-2 {
						tx-channel = "qos7";
						tx_queue_depth = <64>;
					};
					chan-3 {
						tx-channel = "qos8";
						tx_queue_depth = <64>;
					};
					chan-4 {
						tx-channel = "qos9";
						tx_queue_depth = <64>;
					};
					chan-5 {
						tx-channel = "qos10";
						tx_queue_depth = <64>;
					};
					chan-6 {
						tx-channel = "qos11";
						tx_queue_depth = <64>;
					};
				};
			};
		};

		crypto: crypto@20c0000 {
			compatible = "ti,keystone-crypto";
			dma-coherent;
			reg = <0x20c0000 0x40000>;
			clocks = <&clksa>;
			tx_channel = "crypto-tx";
			tx_queue_depth = <256>;

			rx_channel = "crypto-rx0";
			rx_queue_depth = <256 64 0 0>;
			rx_buffer_size = <1500 4096 0 0>;

			sc-id = <0x7000 0x71ff>;
		};


		xgedma: pktdma@2fa1000 {
			compatible = "ti,keystone-pktdma";
			reg = <0x2fa1000 0x100		/* 0 - global  */
			       0x2fa1400 0x200		/* 1 - txchan  */
			       0x2fa1800 0x200		/* 2 - rxchan  */
			       0x2fa1c00 0x200		/* 3 - txsched */
			       0x2fa2000 0x400>;	/* 4 - rxflow  */
			/* loop-back;  */
			/* bigendian; */
			enable-all;
			/* debug */
			dma-coherent;
			/* rx-priority = <0>; */
			/* tx-priority = <0>; */
			logical-queue-managers	= <4>;
			queues-per-queue-manager = <4096>;
			qm-base-address = <0x23a80000 0x23a90000
					   0x23aa0000 0x23ab0000>;

			channels {
				xgetx0 {
					transmit;
					label		= "xgetx0";
					pool		= "pool-xge";
					submit-queue	= <8752>;
					/* complete-queue = <8714>; */
					/* debug; */
					/* channel = <0>; */
					/* priority = <1>; */
				};
				xgetx1 {
					transmit;
					label		= "xgetx1";
					pool		= "pool-xge";
					submit-queue	= <8753>;
					/* complete-queue = <8715>; */
					/* debug; */
					/* channel = <0>; */
					/* priority = <1>; */
				};
				xgerx0 {
					receive;
					label		= "xgerx0";
					pool		= "pool-xge";
					/* submit-queue   = <xx>; */
					complete-queue	= <8710>;
					/* debug; */
					channel		= <0>;
					flow		= <0>;
				};
				xgerx1 {
					receive;
					label		= "xgerx1";
					pool		= "pool-xge";
					/* submit-queue   = <xx>; */
					complete-queue	= <8711>;
					/* debug; */
					channel		= <8>;
					flow		= <8>;
				};
			};
		};

		mdiox0: mdiox {
			compatible = "virtual,mdio-gpio";
			#address-cells = <1>;
			#size-cells = <0>;
			gpios = <&gpio0 2 0x2		/* mdc */
				 &gpio0 0 0x2>;		/* mdio */

			phyx0: phyx@0 {
				compatible = "Marvell,88x2242", "ethernet-phy-ieee802.3-c45";
				reg = <0>;
			};
			phyx1: phyx@1 {
				compatible = "Marvell,88x2242", "ethernet-phy-ieee802.3-c45";
				reg = <1>;
			};
		};

		netcpx: netcp@2f00000 {
			#address-cells = <1>;
			#size-cells = <1>;
			reg = <0x2f00000 0xa0600>;
			compatible = "ti,keystone-netcp";
			dma-coherent;

			clocks = <&clkxge>;
			clock-names = "clk_xge";

			interfaces {
				interface-0 {
					rx-channel = "xgerx0";
					rx-queue-depth = <128 128 0 0>;
					rx-buffer-size = <1500 4096 0 0>;
					local-mac-address = [02 18 31 7e 3e 5e]; /*+++FIXME*/
				};
				interface-1 {
					rx-channel = "xgerx1";
					rx-queue-depth = <128 128 0 0>;
					rx-buffer-size = <1500 4096 0 0>;
					local-mac-address = [02 18 31 7e 3e 5f]; /*+++FIXME*/
				};
			};

			cpswx: cpswx@2f00000 {
				reg = <0x2f00000 0xa0600>;
				label = "keystone-cpswx";
				serdes_at_probe = <1>;
				serdes_tx_ctrl_override = <0 0 5>; /* RTM-BOC cm c1 c2 */

				intf_tx_queues = <1>;

				sgmii_module_ofs  = <0x100>;
				pcsr_module_ofs   = <0x600>;
				switch_module_ofs = <0x1000>;
				host_port_reg_ofs = <0x1034>;
				slave_reg_ofs	  = <0x1064>;
				sliver_reg_ofs	  = <0x1400>;
				hw_stats_reg_ofs  = <0x1800>;
				ale_reg_ofs	  = <0x1700>;

				host_port  = <0>;
				num_slaves  = <2>;
				ale_ageout  = <30>;
				ale_entries = <1024>;
				ale_ports   = <3>;

				multi-interface;
				num-interfaces = <2>;
				slaves-per-interface = <1>;

				interfaces {
					interface-0 {
						slave_port = <0>;
						tx-channel = "xgetx0";
						tx_queue_depth = <128>;
					};
					interface-1 {
						slave_port = <1>;
						tx-channel = "xgetx1";
						tx_queue_depth = <128>;
					};
				};

				slaves {
					slave0 {
						label		= "slave0";
						link-interface	= <10>;        /* 10 - XGMII_LINK_MAC_PHY */
						phy-handle	= <&phyx0>;
					};
					slave1 {
						label		= "slave1";
						link-interface	= <10>;        /* 1 - SGMII_LINK_MAC_PHY */
						phy-handle	= <&phyx1>;
					};
				};
			};
		};

		pmu {
			compatible = "arm,cortex-a15-pmu";
			interrupts = <0 20 0xf01 0 21 0xf01 0 22 0xf01 0 23 0xf01 >;
		};
	};
};
